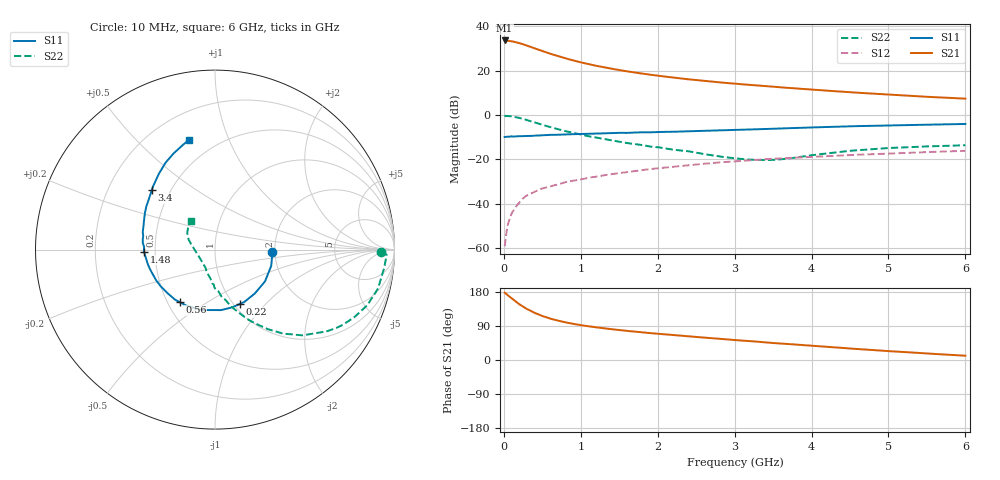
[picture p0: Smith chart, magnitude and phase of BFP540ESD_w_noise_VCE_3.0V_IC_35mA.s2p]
! Infineon Technologies  Discrete & RF Semiconductors
! BFP540ESD
! VCE =  3.0 V,  IC =  35 mA
! Common Emitter S-Parameters:  Nov 2015
# GHz  S  MA  R  50
!  f  S11  S21  S12  S22
! GHz  MAG  ANG  MAG  ANG  MAG  ANG  MAG  ANG
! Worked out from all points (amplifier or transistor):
!   210 points, 10 MHz to 6 GHz, reference 50 ohm
!   highest |S21| = 33.6 dB at 10 MHz (marker M1)
!   |S21| within 3 dB of that: start of sweep to 354.7 MHz
!   unconditionally stable (mu >= 1): start of sweep to 12.6 MHz; 1.767 GHz to end of sweep
!   at 185 MHz: K = 0.29, MSG = 36.4 dB, |S12| = -40.2 dB
!   at 1.52 GHz: K = 0.97, MSG = 23.1 dB, |S12| = -26.1 dB
!   at 6 GHz: K = 1.10, MAG = 9.9 dB, |S12| = -16.1 dB
!   lowest NFmin = 1.52 dB at 900 MHz
!   S11 on the Smith chart (normalised r, x): 10 MHz: 1.94, -0.06; 220 MHz: 1.06, -0.73; 560 MHz: 0.58, -0.38; 1.48 GHz: 0.43, -0.01; 3.4 GHz: 0.39, +0.34; 6 GHz: 0.36, +0.72
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0.01  0.32 -2.5  48.09 177.7  0.0011 101.6  0.9249 -0.8
0.02  0.3203 -6.7  47.3 176.5  0.0014 108.5  0.9567 -1.7
0.05  0.326 -16.1  47.38 171.1  0.0032 94.1  0.9484 -6.1
0.1  0.3302 -32.3  46.26 162.7  0.0059 84.8  0.9339 -13.4
0.145  0.3291 -46.1  44.52 155.5  0.008 79.6  0.9062 -19.3
0.2  0.3343 -60.7  42.02 147.3  0.0105 76.1  0.8615 -26.1
0.22  0.333 -65.6  40.92 144.7  0.0116 74.7  0.8431 -28.2
0.3  0.3388 -84.2  36.88 134.5  0.0153 71.8  0.7701 -36.3
0.4  0.3447 -102.4  31.94 124.3  0.0185 68.6  0.6817 -44.5
0.5  0.3507 -117.1  27.82 116.0  0.0221 65.0  0.602 -51.0
0.56  0.3527 -124.1  25.61 112.3  0.0234 65.4  0.5616 -53.9
0.6  0.3568 -128.6  24.21 109.4  0.0243 65.7  0.5356 -56.1
0.7  0.3592 -137.6  21.42 104.0  0.027 64.4  0.481 -60.3
0.8  0.3652 -146.0  19 99.3  0.0305 63.4  0.4335 -64.5
1.02  0.3741 -159.5  15.15 91.4  0.0358 63.2  0.3556 -71.3
1.48  0.3952 -178.4  10.48 79.5  0.0483 60.7  0.2539 -83.2
2.02  0.4144 166.1  7.633 68.9  0.0633 57.3  0.1861 -95.2
3.1  0.4649 142.2  4.932 51.3  0.0924 48.6  0.1017 -131.5
3.4  0.4845 136.5  4.479 46.6  0.1005 45.7  0.0964 -151.0
4.1  0.5307 125.2  3.644 36.1  0.1159 39.1  0.1295 170.4
5.1  0.587 112.3  2.829 22.3  0.1371 29.5  0.1828 147.2
6  0.628 103.5  2.342 11.3  0.1558 22.4  0.2084 130.2
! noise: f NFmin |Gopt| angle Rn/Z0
0.9  1.52  0.41  -139  0.13
1.8  1.66  0.44  -142  0.13
2.4  1.7  0.44  -132  0.15
3  1.82  0.46  -125  0.19
4  1.87  0.55  -103  0.33
5  2.01  0.6  -88  0.51
6  2.34  0.59  -85  0.77
